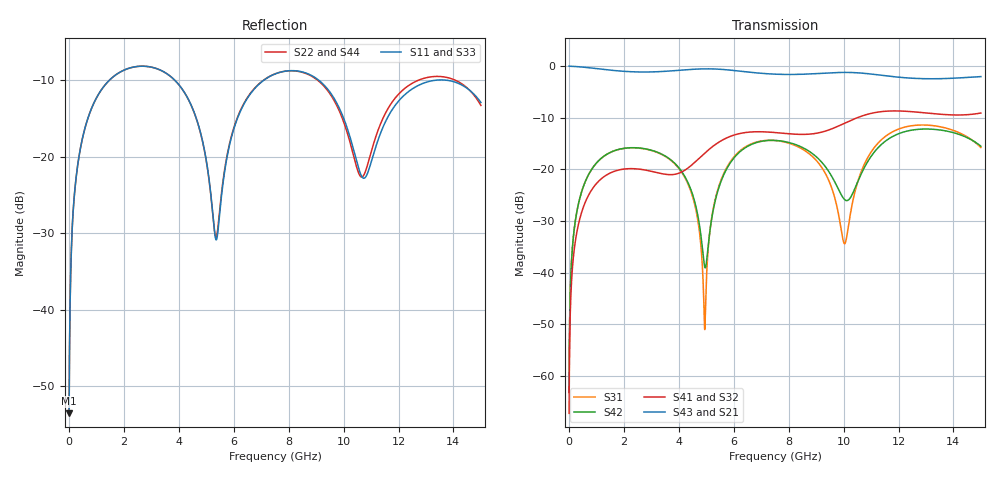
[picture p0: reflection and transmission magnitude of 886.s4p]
! Created with skrf 1.8.0 (http://scikit-rf.org).
# GHz S RI R 50.0
!freq ReS11 ImS11 ReS12 ImS12 ReS13 ImS13
! ReS14 ImS14
! ReS21 ImS21 ReS22 ImS22 ReS23 ImS23
! ReS24 ImS24
! ReS31 ImS31 ReS32 ImS32 ReS33 ImS33
! ReS34 ImS34
! ReS41 ImS41 ReS42 ImS42 ReS43 ImS43
! ReS44 ImS44
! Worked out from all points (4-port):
!   2499 points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, 5 MHz to 15 GHz, reference 50 ohm
!   strongest paths, dB at 5 MHz, 3.476 GHz, 7.19 GHz, 11.1 GHz, 15 GHz:
!     S43: 0.0, -1.0, -1.5, -1.6, -2.0
!     S21: 0.0, -1.0, -1.5, -1.6, -2.0
!     S41: -67.2, -20.9, -12.8, -9.0, -9.1
!     S32: -67.2, -21.0, -12.8, -9.1, -9.2
!     S42: -63.2, -17.3, -14.4, -16.8, -15.5
!     S31: -63.2, -17.4, -14.4, -15.9, -15.8
!   lowest |S11| = -53.6 dB at 5 MHz (marker M1), VSWR 1.00, Z = 50.2 + j0.127 ohm
!   |S11| at or under -10 dB: start of sweep to 1.47 GHz; 3.855 GHz to 7.094 GHz (3.239 GHz wide, 59.2 % of centre); 9.098 GHz to 13.34 GHz (4.244 GHz wide, 37.8 % of centre) (the widest 3 of 4)
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0.005  0.00167 0.00127  0.9983 -0.00326  8.49e-05 0.000686  -8.23e-05 -0.000427
       0.9983 -0.00326  0.00167 0.00127  -8.23e-05 -0.000427  8.49e-05 0.000686
       8.49e-05 0.000686  -8.23e-05 -0.000427  0.00167 0.00127  0.9983 -0.00326
       -8.23e-05 -0.000427  8.49e-05 0.000686  0.9983 -0.00326  0.00167 0.00127
0.3126303  0.0249 0.0832  0.966 -0.2024  0.0117 0.0406  -0.00977 -0.0249
           0.966 -0.2024  0.0249 0.0832  -0.00976 -0.0249  0.0118 0.0406
           0.0117 0.0406  -0.00976 -0.0249  0.0249 0.0832  0.966 -0.2024
           -0.00977 -0.0249  0.0118 0.0406  0.966 -0.2024  0.0249 0.0832
1.469362  0.2592 0.181  0.5719 -0.7154  0.1274 0.0675  -0.0908 -0.00983
          0.5719 -0.7154  0.2591 0.181  -0.0907 -0.01  0.1283 0.0663
          0.1274 0.0675  -0.0907 -0.01  0.2593 0.181  0.5718 -0.7154
          -0.0908 -0.00983  0.1283 0.0663  0.5718 -0.7154  0.259 0.1811
4.945811  0.0506 -0.095  -0.8897 -0.3051  -0.00281 3.38e-05  -0.0411 0.1378
          -0.8897 -0.3051  0.051 -0.0935  -0.0437 0.137  -0.0109 -0.00309
          -0.00281 3.38e-05  -0.0437 0.137  0.0501 -0.096  -0.8896 -0.3052
          -0.0411 0.1378  -0.0109 -0.00309  -0.8896 -0.3052  0.052 -0.094
8.359733  0.3602 -0.0421  0.016 0.8313  0.1428 -0.0817  0.206 -0.0724
          0.016 0.8313  0.3583 -0.0445  0.2061 -0.0657  0.1409 -0.0941
          0.1428 -0.0817  0.2061 -0.0657  0.3606 -0.0439  0.0167 0.8316
          0.206 -0.0724  0.1409 -0.0941  0.0167 0.8316  0.3567 -0.0431
11.0296  0.0862 0.041  0.8364 -0.0135  0.0619 0.1376  -0.0329 -0.3482
         0.8364 -0.0135  0.0952 0.0578  -0.0211 -0.3489  0.0232 0.1349
         0.0619 0.1376  -0.0211 -0.3489  0.0858 0.0441  0.8362 -0.0155
         -0.0329 -0.3482  0.0232 0.1349  0.8362 -0.0155  0.0966 0.0573
15  0.1792 -0.1382  -0.4393 -0.6585  0.0954 -0.1319  -0.2527 0.2438
    -0.4393 -0.6585  0.1445 -0.1611  -0.2643 0.2231  0.0549 -0.1584
    0.0954 -0.1319  -0.2643 0.2231  0.1738 -0.1566  -0.4413 -0.6565
    -0.2527 0.2438  0.0549 -0.1584  -0.4413 -0.6565  0.1544 -0.1459
